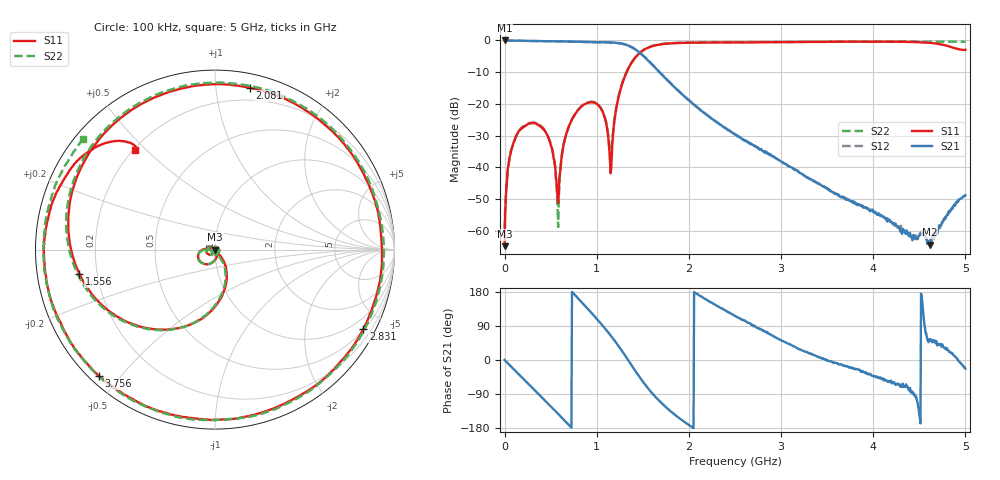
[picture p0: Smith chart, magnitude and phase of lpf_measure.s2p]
#  HZ  S  RI  R  50.00
! Rohde & Schwarz Vector Network Analyzer
! Rohde-Schwarz,ZNB8-4Port,1311601044101820,2.80
! Created: UTC 1/20/2020, 11:30:59 AM
! freq[Hz]  re:S11  im:S11  re:S21  im:S21  re:S12  im:S12  re:S22  im:S22
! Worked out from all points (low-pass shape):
!   801 points, 100 kHz to 5 GHz, reference 50 ohm
!   highest |S21| = -0.01 dB at 100 kHz (marker M1); lowest = -64.4 dB at 4.613 GHz (marker M2)
!   |S21| within 3 dB of the highest: start of sweep to 1.427 GHz
!   lowest |S11| = -64.9 dB at 100 kHz (marker M3), VSWR 1.00, Z = 50 + j0.0448 ohm
!   |S11| at or under -10 dB: start of sweep to 1.324 GHz
!   |S22| runs from -59.4 to -0.4 dB; largest |S21 - S12| = 0.0032
!   S11 on the Smith chart (normalised r, x): 100 kHz: 1.00, +0.00; 1.556 GHz: 0.13, -0.09; 2.081 GHz: 0.10, +1.23; 2.831 GHz: 0.54, -3.91; 3.756 GHz: 0.03, -0.44; 5 GHz: 0.21, +0.47
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100000  0.00035 0.000447  0.9991 0.000747  0.9991 0.000784  0.000971 0.000465
4.384912e7  -0.000952 -0.0109  0.9796 -0.1878  0.9778 -0.1873  -0.00131 -0.0109
1.063479e8  -0.0116 -0.0234  0.8921 -0.4368  0.8909 -0.4368  -0.0117 -0.0236
4.00092e8  -0.0424 0.00708  -0.1271 -0.968  -0.1257 -0.9668  -0.0433 0.00696
5.063399e8  -0.016 0.0138  -0.5374 -0.8098  -0.5366 -0.8092  -0.0168 0.0133
5.813384e8  0.00271 0.000391  -0.7643 -0.5924  -0.7638 -0.593  0.000938 -0.000649
6.688366e8  0.0114 -0.0313  -0.9264 -0.2613  -0.9256 -0.261  0.00954 -0.0322
8.375832e8  -0.0418 -0.0817  -0.8414 0.4414  -0.8402 0.4411  -0.043 -0.0818
1.043829e9  -0.0848 -0.0108  -0.103 0.9314  -0.1045 0.9307  -0.0841 -0.014
1.150077e9  -0.0055 -0.00584  0.3941 0.8427  0.3928 0.8415  -0.00742 -0.0124
1.293824e9  0.0461 -0.2419  0.8385 0.2545  0.837 0.2536  0.0379 -0.2468
1.431321e9  -0.3513 -0.442  0.5856 -0.3854  0.585 -0.3838  -0.3561 -0.445
1.556319e9  -0.7556 -0.1351  0.1276 -0.4678  0.129 -0.4679  -0.7585 -0.1507
1.668817e9  -0.8005 0.3043  -0.0879 -0.3182  -0.0867 -0.3186  -0.8162 0.2783
2.081308e9  0.1937 0.9015  -0.0895 0.00773  -0.0908 0.00777  0.1031 0.925
2.50005e9  0.8987 0.2478  -0.0146 0.0293  -0.0148 0.0298  0.8493 0.4006
2.831293e9  0.8257 -0.443  0.00426 0.0161  0.00503 0.017  0.909 -0.2523
3.337533e9  0.0208 -0.9484  0.0061 0.00163  0.00609 0.00154  0.2873 -0.9054
3.756275e9  -0.6479 -0.7034  0.00272 -0.000946  0.00274 -0.0011  -0.4028 -0.8671
4.168767e9  -0.9445 -0.1379  0.000835 -0.0012  0.00085 -0.00122  -0.8558 -0.428
4.612508e9  -0.7837 0.478  0.000378 0.000469  0.000383 0.000577  -0.9411 0.1737
5e9  -0.4434 0.5564  0.00334 -0.0014  0.00329 -0.00146  -0.7327 0.6164
